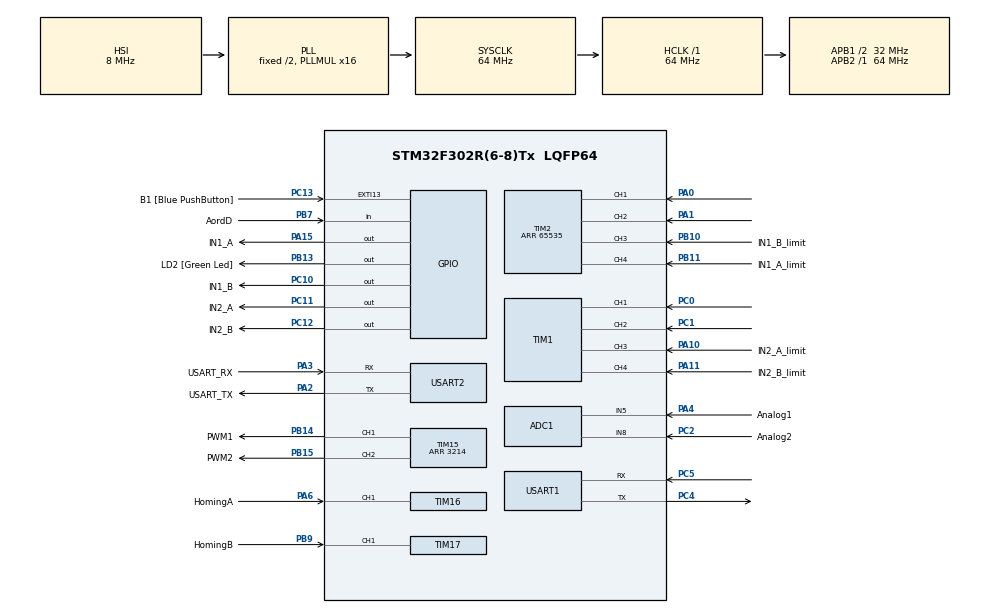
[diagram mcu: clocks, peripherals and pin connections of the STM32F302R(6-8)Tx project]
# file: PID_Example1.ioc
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ADC1.Channel-1\#ChannelRegularConversion=ADC_CHANNEL_5
ADC1.NbrOfConversionFlag=1
ADC1.Offset-1\#ChannelRegularConversion=0
ADC1.OffsetNumber-1\#ChannelRegularConversion=ADC_OFFSET_NONE
ADC1.Rank-1\#ChannelRegularConversion=1
ADC1.SamplingTime-1\#ChannelRegularConversion=ADC_SAMPLETIME_1CYCLE_5
ADC1.SubFamily=STM32F302x8
ADC1.master=1
Dma.Request0=USART1_RX
Dma.Request1=USART1_TX
Dma.USART1_RX.0.Direction=DMA_PERIPH_TO_MEMORY
Dma.USART1_RX.0.Instance=DMA1_Channel5
Dma.USART1_RX.0.MemDataAlignment=DMA_MDATAALIGN_BYTE
Dma.USART1_RX.0.MemInc=DMA_MINC_ENABLE
Dma.USART1_RX.0.Mode=DMA_NORMAL
Dma.USART1_RX.0.PeriphDataAlignment=DMA_PDATAALIGN_BYTE
Dma.USART1_RX.0.PeriphInc=DMA_PINC_DISABLE
Dma.USART1_RX.0.Priority=DMA_PRIORITY_LOW
Dma.USART1_TX.1.Direction=DMA_MEMORY_TO_PERIPH
Dma.USART1_TX.1.Instance=DMA1_Channel4
Dma.USART1_TX.1.MemDataAlignment=DMA_MDATAALIGN_BYTE
Dma.USART1_TX.1.MemInc=DMA_MINC_ENABLE
Dma.USART1_TX.1.Mode=DMA_NORMAL
Dma.USART1_TX.1.PeriphDataAlignment=DMA_PDATAALIGN_BYTE
Dma.USART1_TX.1.PeriphInc=DMA_PINC_DISABLE
Dma.USART1_TX.1.Priority=DMA_PRIORITY_LOW
Mcu.Family=STM32F3
Mcu.Name=STM32F302R(6-8)Tx
Mcu.Package=LQFP64
NVIC.DMA1_Channel4_IRQn=true\:0\:0\:false\:false\:true\:false\:true\:true
NVIC.DMA1_Channel5_IRQn=true\:0\:0\:false\:false\:true\:false\:true\:true
NVIC.PriorityGroup=NVIC_PRIORITYGROUP_0
NVIC.TIM6_DAC_IRQn=true\:0\:0\:false\:false\:true\:true\:true\:true
NVIC.USART1_IRQn=true\:0\:0\:false\:false\:true\:true\:true\:true
PA0.Signal=S_TIM2_CH1_ETR
PA1.Signal=S_TIM2_CH2
PA10.GPIO_Label=IN2_A_limit
PA10.Signal=S_TIM1_CH3
PA11.GPIO_Label=IN2_B_limit
PA11.Signal=S_TIM1_CH4
PA13.GPIO_Label=TMS
PA13.Mode=Serial_Wire
PA13.Signal=SYS_JTMS-SWDIO
PA14.GPIO_Label=TCK
PA14.Mode=Serial_Wire
PA14.Signal=SYS_JTCK-SWCLK
PA15.GPIO_Label=IN1_A
PA15.Signal=GPIO_Output
PA2.GPIO_Label=USART_TX
PA2.GPIO_Mode=GPIO_MODE_AF_PP
PA2.GPIO_PuPd=GPIO_NOPULL
PA2.GPIO_Speed=GPIO_SPEED_FREQ_LOW
PA2.Mode=Asynchronous
PA2.Signal=USART2_TX
PA3.GPIO_Label=USART_RX
PA3.GPIO_Mode=GPIO_MODE_AF_PP
PA3.GPIO_PuPd=GPIO_NOPULL
PA3.GPIO_Speed=GPIO_SPEED_FREQ_LOW
PA3.Mode=Asynchronous
PA3.Signal=USART2_RX
PA4.GPIO_Label=Analog1
PA4.Mode=IN5-Single-Ended
PA4.Signal=ADC1_IN5
PA6.GPIO_Label=HomingA
PA6.Signal=S_TIM16_CH1
PB10.GPIO_Label=IN1_B_limit
PB10.Signal=S_TIM2_CH3
PB11.GPIO_Label=IN1_A_limit
PB11.Signal=S_TIM2_CH4
PB13.GPIO_Label=LD2 [Green Led]
PB13.Signal=GPIO_Output
PB14.GPIO_Label=PWM1
PB14.Signal=S_TIM15_CH1
PB15.GPIO_Label=PWM2
PB15.Signal=S_TIM15_CH2
PB3.GPIO_Label=SWO
PB3.Mode=Trace_Asynchronous_SW
PB3.Signal=SYS_JTDO-TRACESWO
PB7.GPIO_Label=AordD
PB7.Signal=GPIO_Input
PB9.GPIO_Label=HomingB
PB9.Signal=S_TIM17_CH1
PC0.Signal=S_TIM1_CH1
PC1.Signal=S_TIM1_CH2
PC10.GPIO_Label=IN1_B
PC10.Signal=GPIO_Output
PC11.GPIO_Label=IN2_A
PC11.Signal=GPIO_Output
PC12.GPIO_Label=IN2_B
PC12.Signal=GPIO_Output
PC13.GPIO_Label=B1 [Blue PushButton]
PC13.GPIO_ModeDefaultEXTI=GPIO_MODE_IT_FALLING
PC13.Signal=GPXTI13
PC14\ -\ OSC32_IN.Mode=LSE-External-Oscillator
PC14\ -\ OSC32_IN.Signal=RCC_OSC32_IN
PC15\ -\ OSC32_OUT.Mode=LSE-External-Oscillator
PC15\ -\ OSC32_OUT.Signal=RCC_OSC32_OUT
PC2.GPIO_Label=Analog2
PC2.Signal=ADCx_IN8
PC4.Mode=Asynchronous
PC4.Signal=USART1_TX
PC5.Mode=Asynchronous
PC5.Signal=USART1_RX
PF0-OSC_IN.Mode=HSE-External-Clock-Source
PF0-OSC_IN.Signal=RCC_OSC_IN
PF1-OSC_OUT.Signal=RCC_OSC_OUT
ProjectManager.HeapSize=0x200
ProjectManager.StackSize=0x400
ProjectManager.TargetToolchain=STM32CubeIDE
RCC.AHBFreq_Value=64000000
RCC.APB1CLKDivider=RCC_HCLK_DIV2
RCC.APB1Freq_Value=32000000
RCC.APB1TimFreq_Value=64000000
RCC.APB2Freq_Value=64000000
RCC.APB2TimFreq_Value=64000000
RCC.CortexFreq_Value=64000000
RCC.HCLKFreq_Value=64000000
RCC.HSE_VALUE=8000000
RCC.HSI_VALUE=8000000
RCC.PLLM=8
RCC.PLLMUL=RCC_PLL_MUL16
RCC.PLLN=336
RCC.PLLP=RCC_PLLP_DIV4
RCC.PLLQ=7
RCC.RCC_PLLsource_Clock_Source_FROM_HSE=RCC_HSE_PREDIV_DIV2
RCC.SYSCLKFreq_VALUE=64000000
RCC.SYSCLKSourceVirtual=RCC_SYSCLKSOURCE_PLLCLK
RCC.USBFreq_Value=64000000
SH.ADCx_IN8.0=ADC1_IN8,IN8-Single-Ended
SH.S_TIM15_CH1.0=TIM15_CH1,PWM Generation1 CH1
SH.S_TIM15_CH2.0=TIM15_CH2,PWM Generation2 CH2
SH.S_TIM16_CH1.0=TIM16_CH1,Input_Capture1_from_TI1
SH.S_TIM17_CH1.0=TIM17_CH1,Input_Capture1_from_TI1
SH.S_TIM1_CH1.0=TIM1_CH1,Encoder_Interface
SH.S_TIM1_CH2.0=TIM1_CH2,Encoder_Interface
SH.S_TIM1_CH3.0=TIM1_CH3,Input_Capture3_from_TI3
SH.S_TIM1_CH4.0=TIM1_CH4,Input_Capture4_from_TI4
SH.S_TIM2_CH1_ETR.0=TIM2_CH1,Encoder_Interface
SH.S_TIM2_CH2.0=TIM2_CH2,Encoder_Interface
SH.S_TIM2_CH3.0=TIM2_CH3,Input_Capture3_from_TI3
SH.S_TIM2_CH4.0=TIM2_CH4,Input_Capture4_from_TI4
TIM1.Channel-Input_Capture3_from_TI3=TIM_CHANNEL_3
TIM1.Channel-Input_Capture4_from_TI4=TIM_CHANNEL_4
TIM15.Channel-PWM\ Generation1\ CH1=TIM_CHANNEL_1
TIM15.Channel-PWM\ Generation2\ CH2=TIM_CHANNEL_2
TIM15.Period=3214
TIM16.Channel=TIM_CHANNEL_1
TIM17.Channel=TIM_CHANNEL_1
TIM2.Channel-Input_Capture3_from_TI3=TIM_CHANNEL_3
TIM2.Channel-Input_Capture4_from_TI4=TIM_CHANNEL_4
TIM2.EncoderMode=TIM_ENCODERMODE_TI12
TIM2.Period=65535
TIM6.Period=19999
TIM6.Prescaler=15
USART1.VirtualMode-Asynchronous=VM_ASYNC
USART2.VirtualMode-Asynchronous=VM_ASYNC
VP_TIM16_VS_ClockSourceINT.Mode=Enable_Timer
VP_TIM17_VS_ClockSourceINT.Mode=Enable_Timer
VP_TIM6_VS_ClockSourceINT.Mode=Enable_Timer
board=NUCLEO-F302R8

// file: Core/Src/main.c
/* USER CODE BEGIN Header */
/**
  ******************************************************************************
  * @file           : main.c
  * @brief          : Main program body
  ******************************************************************************
  * @attention
  *
  * Copyright (c) 2023 STMicroelectronics.
  * All rights reserved.
  *
  * This software is licensed under terms that can be found in the LICENSE file
  * in the root directory of this software component.
  * If no LICENSE file comes with this software, it is provided AS-IS.
  *
  ******************************************************************************
  */
/* USER CODE END Header */
#include "main.h"

/* USER CODE BEGIN PD */
#define PI 3.14159265
#define NSAMP 400
/* USER CODE END PD */

ADC_HandleTypeDef hadc1;

TIM_HandleTypeDef htim1;
TIM_HandleTypeDef htim2;
TIM_HandleTypeDef htim6;
TIM_HandleTypeDef htim15;
TIM_HandleTypeDef htim16;
TIM_HandleTypeDef htim17;

UART_HandleTypeDef huart1;
UART_HandleTypeDef huart2;
DMA_HandleTypeDef hdma_usart1_rx;
DMA_HandleTypeDef hdma_usart1_tx;

/* USER CODE BEGIN PV */
union ParaType
{
	float flt;
	int8_t byte[4];
} Kp, Ki, Kd, Ka;

union MeasuredType
{
	int32_t INT;
	uint8_t byte[4];
} Vel_Measured, Vel_Target;

#define DMA_RX_BUFFER_SIZE 256
uint8_t DMA_RX_Buffer[DMA_RX_BUFFER_SIZE];

#define DMA_TX_BUFFER_SIZE 520
uint8_t DMA_TX_Buffer[DMA_TX_BUFFER_SIZE];

uint8_t Rx_Head[8], Rx_Data[20], Rx_Buffer[256], Data_Buffer[256];
uint8_t Rply_Head[8] = { 0xA5, 0xFF, 0x01, 0x01, 0x00, 0x00, 0x00, 0x00 };
uint8_t Rply_Data[512];
uint8_t Tx_Buffer[512];
volatile uint16_t counter = 0, Rx_Counter;
volatile uint8_t COM_Status; // status = 0, DMA not finished. = 1, DMA finished
volatile uint8_t uartTxDone;
uint8_t message[29] = "Driver Ware has began running";
uint16_t EncVal, direction;
int32_t Speed_TIM6_Measured, Speed_TIM6_Target, Err, Err_1 = 0, Err_2 = 0, Uk, Uk_1 = 0, dU, reg_val;
uint16_t i, j, CRC_Val, x, y, accumulator, k;
float vKp, vKi, vKd, vKa;
uint8_t start = 0;
char msg[20]="";
uint8_t CCW = 0;

static const uint16_t crctable[256] = {
	0x0000, 0x1021, 0x2042, 0x3063, 0x4084, 0x50A5, 0x60C6, 0x70E7,
	0x8108, 0x9129, 0xA14A, 0xB16B, 0xC18C, 0xD1AD, 0xE1CE, 0xF1EF,
	0x1231, 0x0210, 0x3273, 0x2252, 0x52B5, 0x4294, 0x72F7, 0x62D6,
	0x9339, 0x8318, 0xB37B, 0xA35A, 0xD3BD, 0xC39C, 0xF3FF, 0xE3DE,
	0x2462, 0x3443, 0x0420, 0x1401, 0x64E6, 0x74C7, 0x44A4, 0x5485,
	0xA56A, 0xB54B, 0x8528, 0x9509, 0xE5EE, 0xF5CF, 0xC5AC, 0xD58D,
	0x3653, 0x2672, 0x1611, 0x0630, 0x76D7, 0x66F6, 0x5695, 0x46B4,
	0xB75B, 0xA77A, 0x9719, 0x8738, 0xF7DF, 0xE7FE, 0xD79D, 0xC7BC,
	0x48C4, 0x58E5, 0x6886, 0x78A7, 0x0840, 0x1861, 0x2802, 0x3823,
	0xC9CC, 0xD9ED, 0xE98E, 0xF9AF, 0x8948, 0x9969, 0xA90A, 0xB92B,
	0x5AF5, 0x4AD4, 0x7AB7, 0x6A96, 0x1A71, 0x0A50, 0x3A33, 0x2A12,
	0xDBFD, 0xCBDC, 0xFBBF, 0xEB9E, 0x9B79, 0x8B58, 0xBB3B, 0xAB1A,
	0x6CA6, 0x7C87, 0x4CE4, 0x5CC5, 0x2C22, 0x3C03, 0x0C60, 0x1C41,
	0xEDAE, 0xFD8F, 0xCDEC, 0xDDCD, 0xAD2A, 0xBD0B, 0x8D68, 0x9D49,
	0x7E97, 0x6EB6, 0x5ED5, 0x4EF4, 0x3E13, 0x2E32, 0x1E51, 0x0E70,
	0xFF9F, 0xEFBE, 0xDFDD, 0xCFFC, 0xBF1B, 0xAF3A, 0x9F59, 0x8F78,
	0x9188, 0x81A9, 0xB1CA, 0xA1EB, 0xD10C, 0xC12D, 0xF14E, 0xE16F,
	0x1080, 0x00A1, 0x30C2, 0x20E3, 0x5004, 0x4025, 0x7046, 0x6067,
	0x83B9, 0x9398, 0xA3FB, 0xB3DA, 0xC33D, 0xD31C, 0xE37F, 0xF35E,
	0x02B1, 0x1290, 0x22F3, 0x32D2, 0x4235, 0x5214, 0x6277, 0x7256,
	0xB5EA, 0xA5CB, 0x95A8, 0x8589, 0xF56E, 0xE54F, 0xD52C, 0xC50D,
	0x34E2, 0x24C3, 0x14A0, 0x0481, 0x7466, 0x6447, 0x5424, 0x4405,
	0xA7DB, 0xB7FA, 0x8799, 0x97B8, 0xE75F, 0xF77E, 0xC71D, 0xD73C,
	0x26D3, 0x36F2, 0x0691, 0x16B0, 0x6657, 0x7676, 0x4615, 0x5634,
	0xD94C, 0xC96D, 0xF90E, 0xE92F, 0x99C8, 0x89E9, 0xB98A, 0xA9AB,
	0x5844, 0x4865, 0x7806, 0x6827, 0x18C0, 0x08E1, 0x3882, 0x28A3,
	0xCB7D, 0xDB5C, 0xEB3F, 0xFB1E, 0x8BF9, 0x9BD8, 0xABBB, 0xBB9A,
	0x4A75, 0x5A54, 0x6A37, 0x7A16, 0x0AF1, 0x1AD0, 0x2AB3, 0x3A92,
	0xFD2E, 0xED0F, 0xDD6C, 0xCD4D, 0xBDAA, 0xAD8B, 0x9DE8, 0x8DC9,
	0x7C26, 0x6C07, 0x5C64, 0x4C45, 0x3CA2, 0x2C83, 0x1CE0, 0x0CC1,
	0xEF1F, 0xFF3E, 0xCF5D, 0xDF7C, 0xAF9B, 0xBFBA, 0x8FD9, 0x9FF8,
	0x6E17, 0x7E36, 0x4E55, 0x5E74, 0x2E93, 0x3EB2, 0x0ED1, 0x1EF0
};

int16_t SINE_PWM[400], value, sin_i = 0, delay = 0, SINE_RPM[400];
/* USER CODE END PV */

void SystemClock_Config(void);
static void MX_GPIO_Init(void);
static void MX_DMA_Init(void);
static void MX_USART2_UART_Init(void);
static void MX_TIM2_Init(void);
static void MX_TIM6_Init(void);
static void MX_TIM15_Init(void);
static void MX_USART1_UART_Init(void);
static void MX_TIM1_Init(void);
static void MX_TIM16_Init(void);
static void MX_TIM17_Init(void);
static void MX_ADC1_Init(void);
/* USER CODE BEGIN PFP */
uint16_t CalculateCRC16( const uint8_t* c_ptr, size_t len );
/* USER CODE END PFP */

int main(void)
{

  /* MCU Configuration--------------------------------------------------------*/

  /* Reset of all peripherals, Initializes the Flash interface and the Systick. */
  HAL_Init();

  /* Configure the system clock */
  SystemClock_Config();

  /* Initialize all configured peripherals */
  MX_GPIO_Init();
  MX_DMA_Init();
  MX_USART2_UART_Init();
  MX_TIM2_Init();
  MX_TIM6_Init();
  MX_TIM15_Init();
  MX_USART1_UART_Init();
  MX_TIM1_Init();
  MX_TIM16_Init();
  MX_TIM17_Init();
  MX_ADC1_Init();
  /* USER CODE BEGIN 2 */
  HAL_UART_Transmit (&huart1, message, strlen(message), 100 );

  __HAL_UART_ENABLE_IT( &huart1, UART_IT_IDLE );//enable idle interrupt
  __HAL_DMA_ENABLE_IT( &hdma_usart1_rx, DMA_IT_TC);//enable DMA complete interrupt
  __HAL_DMA_DISABLE_IT( &hdma_usart1_rx, DMA_IT_HT);//disable half transfer interrupt

  HAL_UART_Receive_DMA( &huart1, DMA_RX_Buffer, DMA_RX_BUFFER_SIZE );//enable uart1 DMA receiving

  COM_Status = 0;

  HAL_TIM_PWM_Start( &htim15, TIM_CHANNEL_1 );
  HAL_TIMEx_PWMN_Start( &htim15, TIM_CHANNEL_1 );

  HAL_TIM_Encoder_Start(&htim2, TIM_CHANNEL_ALL);
  TIM2->CNT = 32767; //encoder couter offset;
  HAL_TIM_Base_Start(&htim2);

  HAL_GPIO_WritePin (GPIOB, GPIO_PIN_4, GPIO_PIN_SET);
  HAL_GPIO_WritePin (GPIOB, GPIO_PIN_5, GPIO_PIN_RESET);

  HAL_TIM_Base_Start_IT(&htim6);
  HAL_NVIC_SetPriority(TIM6_DAC_IRQn, 0, 0); //set NVIC priority
  HAL_NVIC_EnableIRQ(TIM6_DAC_IRQn); //enable interrupt

  //PID coefficients for motor controller STK681-332 Kp = 2.3, Ki = 0.3, Kd = 0.25
  vKp = 3.0;
  vKi = 0.3;
  vKd = 0.25;
  Speed_TIM6_Target = -13653/200;
  //40506 close to the max
  if(Speed_TIM6_Target < 0)
  {
	  CCW = 1;
  }
  else
  {
	  CCW = 0;
  }

  for ( k = 0; k < NSAMP; k++ ) {
  	  value = (int16_t) rint((sinf( ( (2.0*PI)/NSAMP) * k)) * 3214.0 );
  	  SINE_PWM[k] = value < 3215 ? value : 3214;
  }
  //the max speed connected to the old motor controller is 202 cts
  //the max speed connected to the new motor controller is 178 cts
  for ( k = 0; k < NSAMP; k++ ) {
	  value = (int16_t) rint( ( sinf( ( (2.0*PI)/NSAMP) * k ) ) * 178 );
	  SINE_RPM[k] = value < 208 ? value : 207;
  }
  int32_t speed = 0;
  /* USER CODE END 2 */

  /* Infinite loop */
  while (1)
  {

    /* USER CODE BEGIN 3 */

	  // measured speed is the #of ticks per 5ms
	  //multiply by 200.0 = (1/0.005s) to get ticks/sec
	  // 60/5120 is the ratio to turn ticks/sec to rpm

	  if(start)
	  {
		  speed = (int32_t) ( Speed_TIM6_Measured * 200.0 * (60.0/5120.0) );//encoder counts to rpm
		  sprintf( msg, "%d\r\n", speed ); // msg will display speed measured in rpm
		  //Transmit_DMA ( &huart1, (uint8_t*) msg, strlen(msg) );
		  //sprintf( msg, "%d\r\n", Err );
		  //sprintf( msg, "cts: %d\r\n", Speed_TIM6_Measured ); //msg will display speed measured in encoder counts.
		  Transmit_DMA ( &huart1, (uint8_t*) msg, strlen(msg) );

		  //sprintf( msg, "pwm reg: %d\r\n", TIM15->CCR1);
		  //sprintf(msg, "Uk: %d\r\n", Uk);
		  //sprintf( msg, "Err: %d\r\n", Err );
		  //sprintf( msg, "Uk: %d\r\n", Uk);

		  start = 0;
	  }
	  /*if( SINE[sin_i] < 0 )
		  TIM15 -> CCR1 = (uint32_t) ( -1.0 * SINE[sin_i] );
	  else
		  TIM15 -> CCR1 = (uint32_t) ( SINE[sin_i] );

	  if( sin_i >= 399 )
		  sin_i = 0;
	  sin_i++;*/
	  //HAL_Delay(500);

  }
  /* USER CODE END 3 */
}

void SystemClock_Config(void)
{
  RCC_OscInitTypeDef RCC_OscInitStruct = {0};
  RCC_ClkInitTypeDef RCC_ClkInitStruct = {0};
  RCC_PeriphCLKInitTypeDef PeriphClkInit = {0};

  /** Initializes the RCC Oscillators according to the specified parameters
  * in the RCC_OscInitTypeDef structure.
  */
  RCC_OscInitStruct.OscillatorType = RCC_OSCILLATORTYPE_HSI;
  RCC_OscInitStruct.HSIState = RCC_HSI_ON;
  RCC_OscInitStruct.HSICalibrationValue = RCC_HSICALIBRATION_DEFAULT;
  RCC_OscInitStruct.PLL.PLLState = RCC_PLL_ON;
  RCC_OscInitStruct.PLL.PLLSource = RCC_PLLSOURCE_HSI;
  RCC_OscInitStruct.PLL.PLLMUL = RCC_PLL_MUL16;
  if (HAL_RCC_OscConfig(&RCC_OscInitStruct) != HAL_OK)
  {
    Error_Handler();
  }

  /** Initializes the CPU, AHB and APB buses clocks
  */
  RCC_ClkInitStruct.ClockType = RCC_CLOCKTYPE_HCLK|RCC_CLOCKTYPE_SYSCLK
                              |RCC_CLOCKTYPE_PCLK1|RCC_CLOCKTYPE_PCLK2;
  RCC_ClkInitStruct.SYSCLKSource = RCC_SYSCLKSOURCE_PLLCLK;
  RCC_ClkInitStruct.AHBCLKDivider = RCC_SYSCLK_DIV1;
  RCC_ClkInitStruct.APB1CLKDivider = RCC_HCLK_DIV2;
  RCC_ClkInitStruct.APB2CLKDivider = RCC_HCLK_DIV1;

  if (HAL_RCC_ClockConfig(&RCC_ClkInitStruct, FLASH_LATENCY_2) != HAL_OK)
  {
    Error_Handler();
  }
  PeriphClkInit.PeriphClockSelection = RCC_PERIPHCLK_USART1|RCC_PERIPHCLK_TIM1
                              |RCC_PERIPHCLK_TIM15|RCC_PERIPHCLK_TIM16
                              |RCC_PERIPHCLK_TIM17|RCC_PERIPHCLK_ADC1;
  PeriphClkInit.Usart1ClockSelection = RCC_USART1CLKSOURCE_PCLK1;
  PeriphClkInit.Tim1ClockSelection = RCC_TIM1CLK_HCLK;
  PeriphClkInit.Tim15ClockSelection = RCC_TIM15CLK_HCLK;
  PeriphClkInit.Tim16ClockSelection = RCC_TIM16CLK_HCLK;
  PeriphClkInit.Tim17ClockSelection = RCC_TIM17CLK_HCLK;
  PeriphClkInit.Adc1ClockSelection = RCC_ADC1PLLCLK_DIV1;

  if (HAL_RCCEx_PeriphCLKConfig(&PeriphClkInit) != HAL_OK)
  {
    Error_Handler();
  }
}

static void MX_ADC1_Init(void)
{

  ADC_ChannelConfTypeDef sConfig = {0};

  /** Common config
  */
  hadc1.Instance = ADC1;
  hadc1.Init.ClockPrescaler = ADC_CLOCK_ASYNC_DIV1;
  hadc1.Init.Resolution = ADC_RESOLUTION_12B;
  hadc1.Init.ScanConvMode = ADC_SCAN_DISABLE;
  hadc1.Init.ContinuousConvMode = DISABLE;
  hadc1.Init.DiscontinuousConvMode = DISABLE;
  hadc1.Init.ExternalTrigConvEdge = ADC_EXTERNALTRIGCONVEDGE_NONE;
  hadc1.Init.ExternalTrigConv = ADC_SOFTWARE_START;
  hadc1.Init.DataAlign = ADC_DATAALIGN_RIGHT;
  hadc1.Init.NbrOfConversion = 1;
  hadc1.Init.DMAContinuousRequests = DISABLE;
  hadc1.Init.EOCSelection = ADC_EOC_SINGLE_CONV;
  hadc1.Init.LowPowerAutoWait = DISABLE;
  hadc1.Init.Overrun = ADC_OVR_DATA_OVERWRITTEN;
  if (HAL_ADC_Init(&hadc1) != HAL_OK)
  {
    Error_Handler();
  }

  /** Configure Regular Channel
  */
  sConfig.Channel = ADC_CHANNEL_5;
  sConfig.Rank = ADC_REGULAR_RANK_1;
  sConfig.SingleDiff = ADC_SINGLE_ENDED;
  sConfig.SamplingTime = ADC_SAMPLETIME_1CYCLE_5;
  sConfig.OffsetNumber = ADC_OFFSET_NONE;
  sConfig.Offset = 0;
  if (HAL_ADC_ConfigChannel(&hadc1, &sConfig) != HAL_OK)
  {
    Error_Handler();
  }

}

static void MX_TIM1_Init(void)
{

  TIM_Encoder_InitTypeDef sConfig = {0};
  TIM_MasterConfigTypeDef sMasterConfig = {0};
  TIM_IC_InitTypeDef sConfigIC = {0};

  htim1.Instance = TIM1;
  htim1.Init.Prescaler = 0;
  htim1.Init.CounterMode = TIM_COUNTERMODE_UP;
  htim1.Init.Period = 65535;
  htim1.Init.ClockDivision = TIM_CLOCKDIVISION_DIV1;
  htim1.Init.RepetitionCounter = 0;
  htim1.Init.AutoReloadPreload = TIM_AUTORELOAD_PRELOAD_DISABLE;
  if (HAL_TIM_IC_Init(&htim1) != HAL_OK)
  {
    Error_Handler();
  }
  sConfig.EncoderMode = TIM_ENCODERMODE_TI1;
  sConfig.IC1Polarity = TIM_ICPOLARITY_RISING;
  sConfig.IC1Selection = TIM_ICSELECTION_DIRECTTI;
  sConfig.IC1Prescaler = TIM_ICPSC_DIV1;
  sConfig.IC1Filter = 0;
  sConfig.IC2Polarity = TIM_ICPOLARITY_RISING;
  sConfig.IC2Selection = TIM_ICSELECTION_DIRECTTI;
  sConfig.IC2Prescaler = TIM_ICPSC_DIV1;
  sConfig.IC2Filter = 0;
  if (HAL_TIM_Encoder_Init(&htim1, &sConfig) != HAL_OK)
  {
    Error_Handler();
  }
  sMasterConfig.MasterOutputTrigger = TIM_TRGO_RESET;
  sMasterConfig.MasterOutputTrigger2 = TIM_TRGO2_RESET;
  sMasterConfig.MasterSlaveMode = TIM_MASTERSLAVEMODE_DISABLE;
  if (HAL_TIMEx_MasterConfigSynchronization(&htim1, &sMasterConfig) != HAL_OK)
  {
    Error_Handler();
  }
  sConfigIC.ICPolarity = TIM_INPUTCHANNELPOLARITY_RISING;
  sConfigIC.ICSelection = TIM_ICSELECTION_DIRECTTI;
  sConfigIC.ICPrescaler = TIM_ICPSC_DIV1;
  sConfigIC.ICFilter = 0;
  if (HAL_TIM_IC_ConfigChannel(&htim1, &sConfigIC, TIM_CHANNEL_3) != HAL_OK)
  {
    Error_Handler();
  }
  if (HAL_TIM_IC_ConfigChannel(&htim1, &sConfigIC, TIM_CHANNEL_4) != HAL_OK)
  {
    Error_Handler();
  }

}

static void MX_TIM2_Init(void)
{

  TIM_Encoder_InitTypeDef sConfig = {0};
  TIM_MasterConfigTypeDef sMasterConfig = {0};
  TIM_IC_InitTypeDef sConfigIC = {0};

  htim2.Instance = TIM2;
  htim2.Init.Prescaler = 0;
  htim2.Init.CounterMode = TIM_COUNTERMODE_UP;
  htim2.Init.Period = 65535;
  htim2.Init.ClockDivision = TIM_CLOCKDIVISION_DIV1;
  htim2.Init.AutoReloadPreload = TIM_AUTORELOAD_PRELOAD_DISABLE;
  if (HAL_TIM_IC_Init(&htim2) != HAL_OK)
  {
    Error_Handler();
  }
  sConfig.EncoderMode = TIM_ENCODERMODE_TI12;
  sConfig.IC1Polarity = TIM_ICPOLARITY_RISING;
  sConfig.IC1Selection = TIM_ICSELECTION_DIRECTTI;
  sConfig.IC1Prescaler = TIM_ICPSC_DIV1;
  sConfig.IC1Filter = 0;
  sConfig.IC2Polarity = TIM_ICPOLARITY_RISING;
  sConfig.IC2Selection = TIM_ICSELECTION_DIRECTTI;
  sConfig.IC2Prescaler = TIM_ICPSC_DIV1;
  sConfig.IC2Filter = 0;
  if (HAL_TIM_Encoder_Init(&htim2, &sConfig) != HAL_OK)
  {
    Error_Handler();
  }
  sMasterConfig.MasterOutputTrigger = TIM_TRGO_RESET;
  sMasterConfig.MasterSlaveMode = TIM_MASTERSLAVEMODE_DISABLE;
  if (HAL_TIMEx_MasterConfigSynchronization(&htim2, &sMasterConfig) != HAL_OK)
  {
    Error_Handler();
  }
  sConfigIC.ICPolarity = TIM_INPUTCHANNELPOLARITY_RISING;
  sConfigIC.ICSelection = TIM_ICSELECTION_DIRECTTI;
  sConfigIC.ICPrescaler = TIM_ICPSC_DIV1;
  sConfigIC.ICFilter = 0;
  if (HAL_TIM_IC_ConfigChannel(&htim2, &sConfigIC, TIM_CHANNEL_3) != HAL_OK)
  {
    Error_Handler();
  }
  if (HAL_TIM_IC_ConfigChannel(&htim2, &sConfigIC, TIM_CHANNEL_4) != HAL_OK)
  {
    Error_Handler();
  }

}

static void MX_TIM6_Init(void)
{

  TIM_MasterConfigTypeDef sMasterConfig = {0};

  htim6.Instance = TIM6;
  htim6.Init.Prescaler = 15;
  htim6.Init.CounterMode = TIM_COUNTERMODE_UP;
  htim6.Init.Period = 19999;
  htim6.Init.AutoReloadPreload = TIM_AUTORELOAD_PRELOAD_DISABLE;
  if (HAL_TIM_Base_Init(&htim6) != HAL_OK)
  {
    Error_Handler();
  }
  sMasterConfig.MasterOutputTrigger = TIM_TRGO_RESET;
  sMasterConfig.MasterSlaveMode = TIM_MASTERSLAVEMODE_DISABLE;
  if (HAL_TIMEx_MasterConfigSynchronization(&htim6, &sMasterConfig) != HAL_OK)
  {
    Error_Handler();
  }

}

static void MX_TIM15_Init(void)
{

  TIM_MasterConfigTypeDef sMasterConfig = {0};
  TIM_OC_InitTypeDef sConfigOC = {0};
  TIM_BreakDeadTimeConfigTypeDef sBreakDeadTimeConfig = {0};

  htim15.Instance = TIM15;
  htim15.Init.Prescaler = 0;
  htim15.Init.CounterMode = TIM_COUNTERMODE_UP;
  htim15.Init.Period = 3214;
  htim15.Init.ClockDivision = TIM_CLOCKDIVISION_DIV1;
  htim15.Init.RepetitionCounter = 0;
  htim15.Init.AutoReloadPreload = TIM_AUTORELOAD_PRELOAD_DISABLE;
  if (HAL_TIM_PWM_Init(&htim15) != HAL_OK)
  {
    Error_Handler();
  }
  sMasterConfig.MasterOutputTrigger = TIM_TRGO_RESET;
  sMasterConfig.MasterSlaveMode = TIM_MASTERSLAVEMODE_DISABLE;
  if (HAL_TIMEx_MasterConfigSynchronization(&htim15, &sMasterConfig) != HAL_OK)
  {
    Error_Handler();
  }
  sConfigOC.OCMode = TIM_OCMODE_PWM1;
  sConfigOC.Pulse = 0;
  sConfigOC.OCPolarity = TIM_OCPOLARITY_HIGH;
  sConfigOC.OCNPolarity = TIM_OCNPOLARITY_HIGH;
  sConfigOC.OCFastMode = TIM_OCFAST_DISABLE;
  sConfigOC.OCIdleState = TIM_OCIDLESTATE_RESET;
  sConfigOC.OCNIdleState = TIM_OCNIDLESTATE_RESET;
  if (HAL_TIM_PWM_ConfigChannel(&htim15, &sConfigOC, TIM_CHANNEL_1) != HAL_OK)
  {
    Error_Handler();
  }
  if (HAL_TIM_PWM_ConfigChannel(&htim15, &sConfigOC, TIM_CHANNEL_2) != HAL_OK)
  {
    Error_Handler();
  }
  sBreakDeadTimeConfig.OffStateRunMode = TIM_OSSR_DISABLE;
  sBreakDeadTimeConfig.OffStateIDLEMode = TIM_OSSI_DISABLE;
  sBreakDeadTimeConfig.LockLevel = TIM_LOCKLEVEL_OFF;
  sBreakDeadTimeConfig.DeadTime = 0;
  sBreakDeadTimeConfig.BreakState = TIM_BREAK_DISABLE;
  sBreakDeadTimeConfig.BreakPolarity = TIM_BREAKPOLARITY_HIGH;
  sBreakDeadTimeConfig.BreakFilter = 0;
  sBreakDeadTimeConfig.AutomaticOutput = TIM_AUTOMATICOUTPUT_DISABLE;
  if (HAL_TIMEx_ConfigBreakDeadTime(&htim15, &sBreakDeadTimeConfig) != HAL_OK)
  {
    Error_Handler();
  }
  HAL_TIM_MspPostInit(&htim15);

}

static void MX_TIM16_Init(void)
{

  TIM_IC_InitTypeDef sConfigIC = {0};

  htim16.Instance = TIM16;
  htim16.Init.Prescaler = 0;
  htim16.Init.CounterMode = TIM_COUNTERMODE_UP;
  htim16.Init.Period = 65535;
  htim16.Init.ClockDivision = TIM_CLOCKDIVISION_DIV1;
  htim16.Init.RepetitionCounter = 0;
  htim16.Init.AutoReloadPreload = TIM_AUTORELOAD_PRELOAD_DISABLE;
  if (HAL_TIM_Base_Init(&htim16) != HAL_OK)
  {
    Error_Handler();
  }
  if (HAL_TIM_IC_Init(&htim16) != HAL_OK)
  {
    Error_Handler();
  }
  sConfigIC.ICPolarity = TIM_INPUTCHANNELPOLARITY_RISING;
  sConfigIC.ICSelection = TIM_ICSELECTION_DIRECTTI;
  sConfigIC.ICPrescaler = TIM_ICPSC_DIV1;
  sConfigIC.ICFilter = 0;
  if (HAL_TIM_IC_ConfigChannel(&htim16, &sConfigIC, TIM_CHANNEL_1) != HAL_OK)
  {
    Error_Handler();
  }

}

static void MX_TIM17_Init(void)
{

  TIM_IC_InitTypeDef sConfigIC = {0};

  htim17.Instance = TIM17;
  htim17.Init.Prescaler = 0;
  htim17.Init.CounterMode = TIM_COUNTERMODE_UP;
  htim17.Init.Period = 65535;
  htim17.Init.ClockDivision = TIM_CLOCKDIVISION_DIV1;
  htim17.Init.RepetitionCounter = 0;
  htim17.Init.AutoReloadPreload = TIM_AUTORELOAD_PRELOAD_DISABLE;
  if (HAL_TIM_Base_Init(&htim17) != HAL_OK)
  {
    Error_Handler();
  }
  if (HAL_TIM_IC_Init(&htim17) != HAL_OK)
  {
    Error_Handler();
  }
  sConfigIC.ICPolarity = TIM_INPUTCHANNELPOLARITY_RISING;
  sConfigIC.ICSelection = TIM_ICSELECTION_DIRECTTI;
  sConfigIC.ICPrescaler = TIM_ICPSC_DIV1;
  sConfigIC.ICFilter = 0;
  if (HAL_TIM_IC_ConfigChannel(&htim17, &sConfigIC, TIM_CHANNEL_1) != HAL_OK)
  {
    Error_Handler();
  }

}

static void MX_USART1_UART_Init(void)
{

  huart1.Instance = USART1;
  huart1.Init.BaudRate = 38400;
  huart1.Init.WordLength = UART_WORDLENGTH_8B;
  huart1.Init.StopBits = UART_STOPBITS_1;
  huart1.Init.Parity = UART_PARITY_NONE;
  huart1.Init.Mode = UART_MODE_TX_RX;
  huart1.Init.HwFlowCtl = UART_HWCONTROL_NONE;
  huart1.Init.OverSampling = UART_OVERSAMPLING_16;
  huart1.Init.OneBitSampling = UART_ONE_BIT_SAMPLE_DISABLE;
  huart1.AdvancedInit.AdvFeatureInit = UART_ADVFEATURE_NO_INIT;
  if (HAL_UART_Init(&huart1) != HAL_OK)
  {
    Error_Handler();
  }

}

static void MX_USART2_UART_Init(void)
{

  huart2.Instance = USART2;
  huart2.Init.BaudRate = 38400;
  huart2.Init.WordLength = UART_WORDLENGTH_8B;
  huart2.Init.StopBits = UART_STOPBITS_1;
  huart2.Init.Parity = UART_PARITY_NONE;
  huart2.Init.Mode = UART_MODE_TX_RX;
  huart2.Init.HwFlowCtl = UART_HWCONTROL_NONE;
  huart2.Init.OverSampling = UART_OVERSAMPLING_16;
  huart2.Init.OneBitSampling = UART_ONE_BIT_SAMPLE_DISABLE;
  huart2.AdvancedInit.AdvFeatureInit = UART_ADVFEATURE_NO_INIT;
  if (HAL_UART_Init(&huart2) != HAL_OK)
  {
    Error_Handler();
  }

}

static void MX_DMA_Init(void)
{

  /* DMA controller clock enable */
  __HAL_RCC_DMA1_CLK_ENABLE();

  /* DMA interrupt init */
  /* DMA1_Channel4_IRQn interrupt configuration */
  HAL_NVIC_SetPriority(DMA1_Channel4_IRQn, 0, 0);
  HAL_NVIC_EnableIRQ(DMA1_Channel4_IRQn);
  /* DMA1_Channel5_IRQn interrupt configuration */
  HAL_NVIC_SetPriority(DMA1_Channel5_IRQn, 0, 0);
  HAL_NVIC_EnableIRQ(DMA1_Channel5_IRQn);

}

static void MX_GPIO_Init(void)
{
  GPIO_InitTypeDef GPIO_InitStruct = {0};

  /* GPIO Ports Clock Enable */
  __HAL_RCC_GPIOC_CLK_ENABLE();
  __HAL_RCC_GPIOF_CLK_ENABLE();
  __HAL_RCC_GPIOA_CLK_ENABLE();
  __HAL_RCC_GPIOB_CLK_ENABLE();

  /*Configure GPIO pin Output Level */
  HAL_GPIO_WritePin(LD2_GPIO_Port, LD2_Pin, GPIO_PIN_RESET);

  /*Configure GPIO pin Output Level */
  HAL_GPIO_WritePin(IN1_A_GPIO_Port, IN1_A_Pin, GPIO_PIN_RESET);

  /*Configure GPIO pin Output Level */
  HAL_GPIO_WritePin(GPIOC, IN1_B_Pin|IN2_A_Pin|IN2_B_Pin, GPIO_PIN_RESET);

  /*Configure GPIO pin : B1_Pin */
  GPIO_InitStruct.Pin = B1_Pin;
  GPIO_InitStruct.Mode = GPIO_MODE_IT_FALLING;
  GPIO_InitStruct.Pull = GPIO_NOPULL;
  HAL_GPIO_Init(B1_GPIO_Port, &GPIO_InitStruct);

  /*Configure GPIO pin : LD2_Pin */
  GPIO_InitStruct.Pin = LD2_Pin;
  GPIO_InitStruct.Mode = GPIO_MODE_OUTPUT_PP;
  GPIO_InitStruct.Pull = GPIO_NOPULL;
  GPIO_InitStruct.Speed = GPIO_SPEED_FREQ_LOW;
  HAL_GPIO_Init(LD2_GPIO_Port, &GPIO_InitStruct);

  /*Configure GPIO pin : IN1_A_Pin */
  GPIO_InitStruct.Pin = IN1_A_Pin;
  GPIO_InitStruct.Mode = GPIO_MODE_OUTPUT_PP;
  GPIO_InitStruct.Pull = GPIO_NOPULL;
  GPIO_InitStruct.Speed = GPIO_SPEED_FREQ_LOW;
  HAL_GPIO_Init(IN1_A_GPIO_Port, &GPIO_InitStruct);

  /*Configure GPIO pins : IN1_B_Pin IN2_A_Pin IN2_B_Pin */
  GPIO_InitStruct.Pin = IN1_B_Pin|IN2_A_Pin|IN2_B_Pin;
  GPIO_InitStruct.Mode = GPIO_MODE_OUTPUT_PP;
  GPIO_InitStruct.Pull = GPIO_NOPULL;
  GPIO_InitStruct.Speed = GPIO_SPEED_FREQ_LOW;
  HAL_GPIO_Init(GPIOC, &GPIO_InitStruct);

  /*Configure GPIO pin : AordD_Pin */
  GPIO_InitStruct.Pin = AordD_Pin;
  GPIO_InitStruct.Mode = GPIO_MODE_INPUT;
  GPIO_InitStruct.Pull = GPIO_NOPULL;
  HAL_GPIO_Init(AordD_GPIO_Port, &GPIO_InitStruct);

}

/* USER CODE BEGIN 4 */
void HAL_UART_TxCpltCallback( UART_HandleTypeDef *UartHandle )
{
	//HAL_UART_Transmit (&huart1, "WHAT\r\n", 5, 100 );
	uartTxDone = 1; //signal that Transfer is cplt

}

void Transmit_DMA(UART_HandleTypeDef *UartHandle, uint8_t* aTxBuffer, uint16_t TXBUFFERSIZE)
{
	HAL_StatusTypeDef sts;

	uartTxDone = 0;
	sts = HAL_UART_Transmit_DMA(UartHandle, (uint8_t*)aTxBuffer, TXBUFFERSIZE);

	if( sts != HAL_OK)
	{
		Error_Handler();
	}
	else
	{
		//wait for uart transfer to be complete
		while (uartTxDone == 0)
		{
		}
	}
}

/**
  * @brief Timer period elapsed interrupt function
  * @param TIM_HandleTypeDef - Address of a MCU timer
  * @retval None
  * TIM6 Period = 0.005s. Frequency = 200Hz
  * TIM2 is in encoder mode and stores the encoder's CNT values.
  */
/**
	Using a FAULHABER 1524T102SR micro-motor with a Series 15/10 gearhead and a Series IE2-1024 encoder.
	When I refer to the motor, I mean the combination of the micro-motor and gearhead. The rpm of the motor refers to the rpm of the gearhead.

	I set the motor's rpm to 60 rev/min
	= 1 rev / second

	Motor spins at 60rpm, measured with a Tachometer (RPM spedometer)
	The Gear ratio is 20 micro-motor rotations per gear revolution
	Using encoder mode T1 and T2 (X4 capture mode) so the timer CNT register is updated on every edge of both channels.
	Each revolution updates the CNT value by 4 in X4 mode.

	The encoder will output 64 cts/motor rev * 20 motor/gear rev * 4 * 1 gear rev/s
	= 5120 cts/sec
	= 5120 cts/gear rev @ 1rev/sec

	The code only captures the encoder CNTs every 5 ms = 0.005s
	0.005s * 5120 cts/s = 25.6 cts

	Therefore, the motor at 60rpm will increase the encoder count value by 25 or 26 CNTs.
	TIM2 stores the current value of the encoder count.
	The difference of the current and previous encoder values dictates the speed of the motor.
	A difference of 25 CNTs signifies that the motor spins at 60rpm.

	The speed will be displayed in revolutions per minute (rpm).
	(# of cts in 0.005s frame) * (1/0.005seconds) * (60seconds/minute) * (1rev/5120cts) = rpm

	The TIM2 value is set at 32767 (midpoint of 65535) as an offset so that negative counts are easier to deal with.
	Example:
		TIM2 register has a value of 0
		Motor spins in negative direction at 60rpm
		TIM2 will decrease by 25 CNTs
		0-25 = 65510 CNTS
		converting into a negative rpm is harder.
	Easier method:
		TIM2 set at 32767 (midpoint)
		Motor spins in negative direction at 60rpm
		TIM2 will decrease by 25 CNTs
		32767-25 = 32742 CNTs
		we can store the difference of the CNTs easily to calculate the motor's speed.

	Calculate speed
	reset encoder offset

	add PID, target speed, and PWM to the motor later.

	Keep the speed here in cts/0.005seconds
* */
HAL_TIM_PeriodElapsedCallback (TIM_HandleTypeDef * htim)
{
	if( htim -> Instance == TIM6 )
	{
		//First, read the encoder's value
		//then resets value to the midpoint
		EncVal = TIM2->CNT;
		TIM2->CNT = 32767;

		//Calculate speed in the form of CNTs per 5ms
		//Calculate error
		//Re-enable start boolean
		Speed_TIM6_Measured = (int32_t)( (EncVal - 32767) );
		Err = Speed_TIM6_Target - Speed_TIM6_Measured;
		start = 1;

		//PID calculations derived from wikipedia
		//kind of hard to explain -> review and re explain later
		dU = vKp * (Err - Err_1) + (vKi * Err) + ( vKd * ( Err - 2*Err_1 + Err_2 ) );
		Uk = Uk_1 + dU;
		Uk_1 = Uk;
		Err_2 = Err_1;
		Err_1 = Err;

		//CCW is boolean that determines whether the motor spins clockwise or counter clockwise.
		//Is set before the target speed is set.
		//TIM15 is the PWM wave that controls how much voltage the motor driver receives.
		if( CCW )
		{
			HAL_GPIO_WritePin (GPIOA, GPIO_PIN_15, GPIO_PIN_RESET);
			HAL_GPIO_WritePin (GPIOC, GPIO_PIN_10, GPIO_PIN_SET);
			TIM15 -> CCR1 = (uint32_t) ( -1.0 * (Uk/204.0) * 3214.0 );
		}
		else
		{
			HAL_GPIO_WritePin (GPIOB, GPIO_PIN_15, GPIO_PIN_SET);
			HAL_GPIO_WritePin (GPIOB, GPIO_PIN_10, GPIO_PIN_RESET);
			TIM15 -> CCR1 = (uint32_t) ( (Uk/204.0) * 3214.0 );
		}

		//SINE PWM movement. The motor spins in a sinusoidal fashion according to the code below.
		/*if( SINE_PWM[sin_i] < 0 )
		{
			HAL_GPIO_WritePin (GPIOB, GPIO_PIN_4, GPIO_PIN_RESET);
			HAL_GPIO_WritePin (GPIOB, GPIO_PIN_5, GPIO_PIN_SET);
			TIM15 -> CCR1 = (uint32_t) ( -1.0 * SINE_PWM[sin_i] );
		}
		else
		{
			HAL_GPIO_WritePin (GPIOB, GPIO_PIN_4, GPIO_PIN_SET);
			HAL_GPIO_WritePin (GPIOB, GPIO_PIN_5, GPIO_PIN_RESET);
			TIM15 -> CCR1 = (uint32_t) ( SINE_PWM[sin_i] );
		}*/

		Speed_TIM6_Target = SINE_RPM[sin_i];
		if( Speed_TIM6_Target < 0 )
		{
			CCW = 1;
		}
		else
		{
			CCW = 0;
		}

		if( sin_i >= 399 )
			sin_i = 0;
		if( delay < 10 )
		{
			delay++;
		}
		else
		{
			start = 1;
			sin_i++;
			delay = 0;
		}

	}
}

uint16_t CalculateCRC16( const uint8_t* c_ptr, size_t len )
{
	/*
	 crc_COM = CalculateCRC16(crc_Result, Rx_Head, 6);

	 Rx_Head is an array storing all the bytes

	 * */
	const uint8_t* c = c_ptr; //now storinkg the address of the array that's storing all the bytes
	//*c++ increases the array index? after access the item at index 'c'?? that would be crazy
	accumulator = 0x0000;
	for( len; len > 0; --len )
	{
		x = accumulator << 8 ;
		y = crctable[ ((accumulator >> 8 ) ^ *c)];
		*c++;
		accumulator = x ^ y;
	}
	return accumulator;
}
/* USER CODE END 4 */

void Error_Handler(void)
{
  __disable_irq();
  while (1)
  {
  }
}
